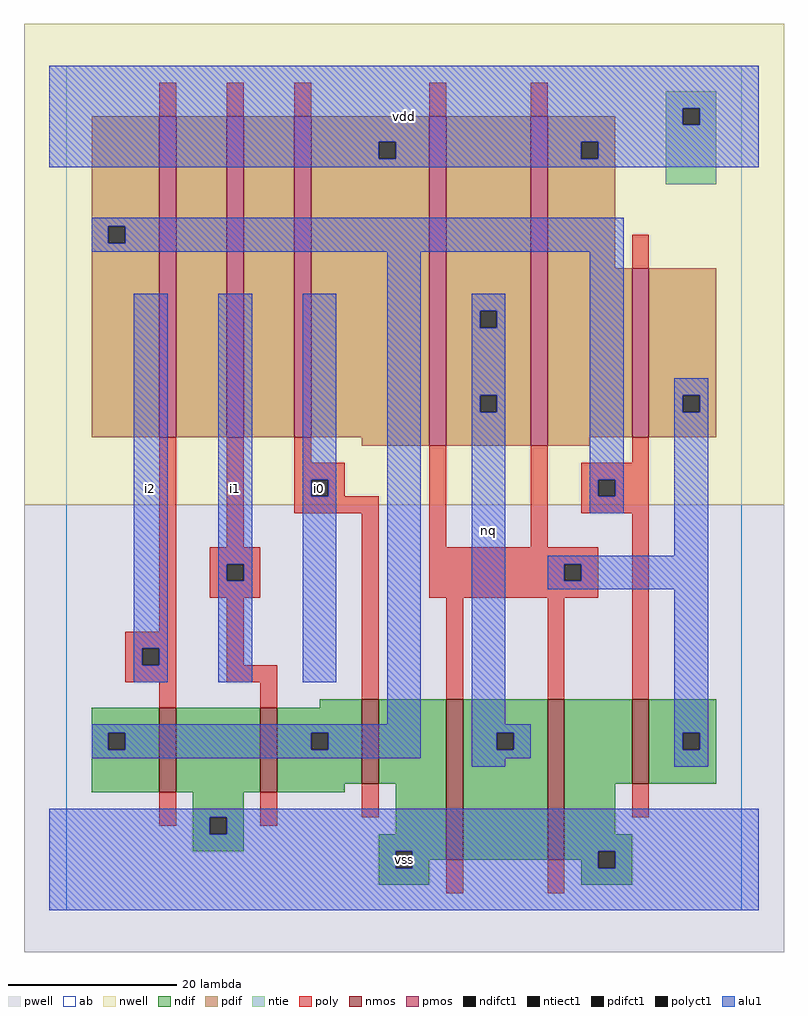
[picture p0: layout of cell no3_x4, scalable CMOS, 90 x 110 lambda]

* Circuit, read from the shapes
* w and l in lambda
.subckt no3_x4 i0 i1 i2 nq vdd vss
M1 vss i2 n1 VSUBS nfet w=10 l=2
M2 n1 i1 vss VSUBS nfet w=10 l=2
M3 vss i0 n1 VSUBS nfet w=10 l=2
M4 nq n2 vss VSUBS nfet w=19 l=2 m=2
M5 n2 n1 vss VSUBS nfet w=10 l=2
M6 n3 i2 n1 vdd pfet w=38 l=2
M7 n4 i1 n3 vdd pfet w=38 l=2
M8 vdd i0 n4 vdd pfet w=38 l=2
M9 nq n2 vdd vdd pfet w=39 l=2 m=2
M10 n2 n1 vdd vdd pfet w=20 l=2
.ends

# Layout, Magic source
magic
tech scmos
<< ab >>
rect 0 0 80 100
<< nwell >>
rect -5 48 85 105
<< pwell >>
rect -5 -5 85 48
<< poly >>
rect 11 94 13 98
rect 19 94 21 98
rect 27 94 29 98
rect 43 94 45 98
rect 55 94 57 98
rect 11 33 13 56
rect 19 43 21 56
rect 27 53 29 56
rect 67 76 69 80
rect 27 51 33 53
rect 27 49 29 51
rect 31 49 33 51
rect 27 47 37 49
rect 17 41 23 43
rect 17 39 19 41
rect 21 39 23 41
rect 17 37 23 39
rect 7 31 13 33
rect 7 29 9 31
rect 11 29 13 31
rect 7 27 13 29
rect 19 29 21 37
rect 19 27 25 29
rect 11 24 13 27
rect 23 24 25 27
rect 35 25 37 47
rect 43 43 45 55
rect 55 43 57 55
rect 67 53 69 56
rect 61 51 69 53
rect 61 49 63 51
rect 65 49 69 51
rect 61 47 69 49
rect 43 41 63 43
rect 43 39 59 41
rect 61 39 63 41
rect 43 37 63 39
rect 45 25 47 37
rect 57 25 59 37
rect 67 25 69 47
rect 11 10 13 14
rect 23 10 25 14
rect 35 11 37 15
rect 67 11 69 15
rect 45 2 47 6
rect 57 2 59 6
<< ndif >>
rect 30 24 35 25
rect 3 21 11 24
rect 3 19 5 21
rect 7 19 11 21
rect 3 14 11 19
rect 13 14 23 24
rect 25 21 35 24
rect 25 19 29 21
rect 31 19 35 21
rect 25 15 35 19
rect 37 15 45 25
rect 25 14 33 15
rect 15 11 21 14
rect 15 9 17 11
rect 19 9 21 11
rect 39 9 45 15
rect 15 7 21 9
rect 37 7 45 9
rect 37 5 39 7
rect 41 6 45 7
rect 47 21 57 25
rect 47 19 51 21
rect 53 19 57 21
rect 47 6 57 19
rect 59 15 67 25
rect 69 21 77 25
rect 69 19 73 21
rect 75 19 77 21
rect 69 15 77 19
rect 59 9 65 15
rect 59 7 67 9
rect 59 6 63 7
rect 41 5 43 6
rect 37 3 43 5
rect 61 5 63 6
rect 65 5 67 7
rect 61 3 67 5
<< pdif >>
rect 3 81 11 94
rect 3 79 5 81
rect 7 79 11 81
rect 3 56 11 79
rect 13 56 19 94
rect 21 56 27 94
rect 29 91 43 94
rect 29 89 37 91
rect 39 89 43 91
rect 29 56 43 89
rect 35 55 43 56
rect 45 71 55 94
rect 45 69 49 71
rect 51 69 55 71
rect 45 61 55 69
rect 45 59 49 61
rect 51 59 55 61
rect 45 55 55 59
rect 57 91 65 94
rect 57 89 61 91
rect 63 89 65 91
rect 57 76 65 89
rect 57 56 67 76
rect 69 61 77 76
rect 69 59 73 61
rect 75 59 77 61
rect 69 56 77 59
rect 57 55 62 56
<< alu1 >>
rect -2 95 82 100
rect -2 93 73 95
rect 75 93 82 95
rect -2 91 82 93
rect -2 89 37 91
rect 39 89 61 91
rect 63 89 82 91
rect -2 88 82 89
rect 3 81 66 82
rect 3 79 5 81
rect 7 79 66 81
rect 3 78 66 79
rect 8 31 12 73
rect 8 29 9 31
rect 11 29 12 31
rect 8 27 12 29
rect 18 41 22 73
rect 18 39 19 41
rect 21 39 22 41
rect 18 27 22 39
rect 28 51 32 73
rect 28 49 29 51
rect 31 49 32 51
rect 28 27 32 49
rect 38 22 42 78
rect 3 21 42 22
rect 3 19 5 21
rect 7 19 29 21
rect 31 19 42 21
rect 3 18 42 19
rect 48 71 52 73
rect 48 69 49 71
rect 51 69 52 71
rect 48 61 52 69
rect 48 59 49 61
rect 51 59 52 61
rect 48 22 52 59
rect 62 51 66 78
rect 62 49 63 51
rect 65 49 66 51
rect 62 47 66 49
rect 72 61 76 63
rect 72 59 73 61
rect 75 59 76 61
rect 72 42 76 59
rect 57 41 76 42
rect 57 39 59 41
rect 61 39 76 41
rect 57 38 76 39
rect 48 21 55 22
rect 48 19 51 21
rect 53 19 55 21
rect 48 18 55 19
rect 72 21 76 38
rect 72 19 73 21
rect 75 19 76 21
rect 48 17 52 18
rect 72 17 76 19
rect -2 11 82 12
rect -2 9 17 11
rect 19 9 82 11
rect -2 7 82 9
rect -2 5 39 7
rect 41 5 63 7
rect 65 5 82 7
rect -2 0 82 5
<< ntie >>
rect 71 95 77 97
rect 71 93 73 95
rect 75 93 77 95
rect 71 86 77 93
<< nmos >>
rect 11 14 13 24
rect 23 14 25 24
rect 35 15 37 25
rect 45 6 47 25
rect 57 6 59 25
rect 67 15 69 25
<< pmos >>
rect 11 56 13 94
rect 19 56 21 94
rect 27 56 29 94
rect 43 55 45 94
rect 55 55 57 94
rect 67 56 69 76
<< polyct1 >>
rect 29 49 31 51
rect 19 39 21 41
rect 9 29 11 31
rect 63 49 65 51
rect 59 39 61 41
<< ndifct1 >>
rect 5 19 7 21
rect 29 19 31 21
rect 17 9 19 11
rect 39 5 41 7
rect 51 19 53 21
rect 73 19 75 21
rect 63 5 65 7
<< ntiect1 >>
rect 73 93 75 95
<< pdifct1 >>
rect 5 79 7 81
rect 37 89 39 91
rect 49 69 51 71
rect 49 59 51 61
rect 61 89 63 91
rect 73 59 75 61
<< labels >>
rlabel alu1 10 50 10 50 6 i2
rlabel polyct1 30 50 30 50 6 i0
rlabel alu1 20 50 20 50 6 i1
rlabel ndifct1 40 6 40 6 6 vss
rlabel alu1 50 45 50 45 6 nq
rlabel alu1 40 94 40 94 6 vdd
<< end >>
